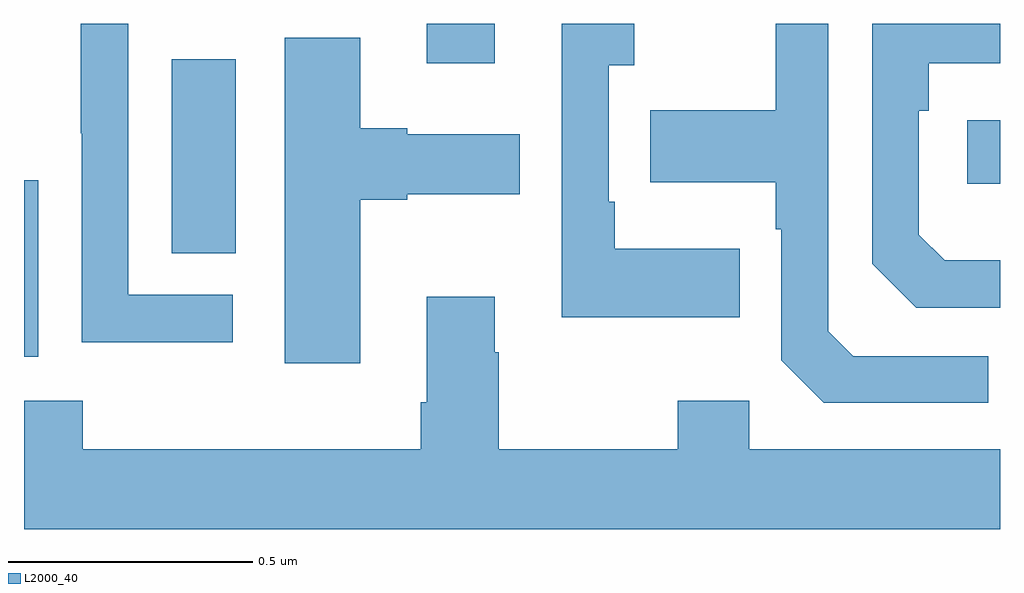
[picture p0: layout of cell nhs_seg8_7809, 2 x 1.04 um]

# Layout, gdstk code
import gdstk
lib = gdstk.Library(unit=1e-6, precision=1e-09)
def R(c, l, rs):  # rectangles x0, y0, x1, y1
    for r in rs: c.add(gdstk.rectangle(r[:2], r[2:], *l))
def P(c, l, *ps):  # polygons
    for p in ps: c.add(gdstk.Polygon(p, *l))
L2000_40 = (2000, 40)

nhs_seg8_7809 = lib.new_cell('nhs_seg8_7809')
R(nhs_seg8_7809, L2000_40, [(215,1086.218,215.029,1086.579), (215.303,1086.43,215.434,1086.827), (216.933,1086.572,217,1086.702), (215.825,1086.819,215.965,1086.9)])
P(nhs_seg8_7809, L2000_40, [(215.428,1086.345),(215.214,1086.345),(215.214,1086.9),(215.116,1086.9),(215.116,1086.676),(215.118,1086.676),(215.118,1086.247),(215.428,1086.247)],
  [(216.976,1086.219),(216.699,1086.219),(216.648,1086.27),(216.648,1086.9),(216.54,1086.9),(216.54,1086.723),(216.283,1086.723),(216.283,1086.575),(216.54,1086.575),(216.54,1086.479),(216.552,1086.479),(216.552,1086.21),(216.639,1086.123),(216.976,1086.123)],
  [(216.467,1086.439),(216.211,1086.439),(216.211,1086.535),(216.198,1086.535),(216.198,1086.815),(216.25,1086.815),(216.25,1086.9),(216.102,1086.9),(216.102,1086.299),(216.467,1086.299)],
  [(217,1086.415),(216.887,1086.415),(216.834,1086.468),(216.834,1086.722),(216.854,1086.722),(216.854,1086.819),(217,1086.819),(217,1086.9),(216.738,1086.9),(216.738,1086.408),(216.828,1086.318),(217,1086.318)],
  [(215.689,1086.539),(215.785,1086.539),(215.785,1086.551),(216.016,1086.551),(216.016,1086.673),(215.785,1086.673),(215.785,1086.686),(215.689,1086.686),(215.689,1086.871),(215.534,1086.871),(215.534,1086.204),(215.689,1086.204)],
  [(217,1086.028),(216.486,1086.028),(216.486,1086.127),(216.34,1086.127),(216.34,1086.028),(215.973,1086.028),(215.973,1086.227),(215.965,1086.227),(215.965,1086.34),(215.825,1086.34),(215.825,1086.124),(215.813,1086.124),(215.813,1086.028),(215.12,1086.028),(215.12,1086.127),(215,1086.127),(215,1085.864),(217,1085.864)])

lib.write_gds('nhs_seg8_7809.gds')
